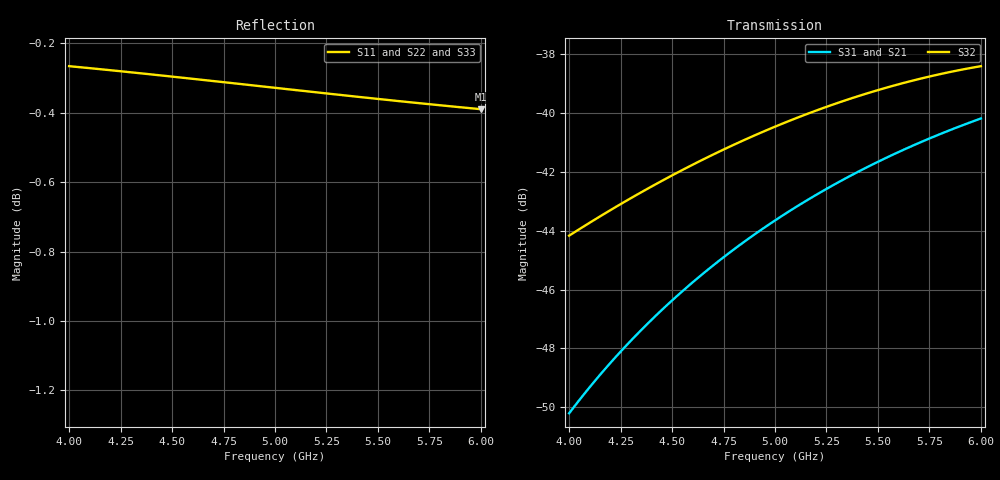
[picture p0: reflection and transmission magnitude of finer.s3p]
! yapnr rf: divider-osh-w, footprint re-simulated (refine 3)
! spec sha256 669d225bab5b9cddc49b53759a4b38011ed0340c321c26ede493b4ce416b5fbc
! 3 ports renormalized to 50 ohm, e^(+jwt) convention
# GHz S RI R 50
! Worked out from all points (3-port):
!   81 points, 4 GHz to 6 GHz, reference 50 ohm
!   strongest paths, dB at 4 GHz, 4.5 GHz, 5 GHz, 5.5 GHz, 6 GHz:
!     S32: -44.2, -42.1, -40.5, -39.2, -38.4
!     S31: -50.2, -46.4, -43.7, -41.7, -40.2
!     S21: -50.2, -46.4, -43.7, -41.7, -40.2
!   lowest |S11| = -0.4 dB at 6 GHz (marker M1), VSWR 44.57, Z = 1.53 - j30.3 ohm
!   |S11| at or under -10 dB: nowhere
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4  0.1223 -0.9621  -0.00254 0.000113  -0.00254 0.000113
   -0.00308 0.000212  -0.0401 -0.9659  -0.00239 -0.00571
   -0.00308 0.000212  -0.00239 -0.00571  -0.0401 -0.9659
4.1  0.0913 -0.9649  -0.00285 0.000263  -0.00285 0.000263
     -0.0034 0.000368  -0.0803 -0.9626  -0.0031 -0.00572
     -0.0034 0.000368  -0.0031 -0.00572  -0.0803 -0.9626
4.225  0.0527 -0.967  -0.00322 0.000493  -0.00322 0.000493
       -0.0038 0.000607  -0.1305 -0.9561  -0.00403 -0.00562
       -0.0038 0.000607  -0.00403 -0.00562  -0.1305 -0.9561
4.45  -0.016 -0.9667  -0.00387 0.00103  -0.00387 0.00103
      -0.00448 0.00116  -0.2201 -0.9376  -0.00572 -0.00509
      -0.00448 0.00116  -0.00572 -0.00509  -0.2201 -0.9376
4.725  -0.0983 -0.9599  -0.00455 0.0019  -0.00455 0.0019
       -0.0052 0.00206  -0.3274 -0.9032  -0.00767 -0.00382
       -0.0052 0.00206  -0.00767 -0.00382  -0.3274 -0.9032
5  -0.1781 -0.9463  -0.00504 0.00297  -0.00504 0.00297
   -0.00574 0.00317  -0.431 -0.8561  -0.00927 -0.00191
   -0.00574 0.00317  -0.00927 -0.00191  -0.431 -0.8561
5.25  -0.2483 -0.9285  -0.00526 0.00408  -0.00526 0.00408
      -0.00601 0.00435  -0.5207 -0.8023  -0.0102 0.00027
      -0.00601 0.00435  -0.0102 0.00027  -0.5207 -0.8023
5.5  -0.316 -0.9058  -0.00524 0.00529  -0.00524 0.00529
     -0.00602 0.00564  -0.605 -0.7384  -0.0106 0.0027
     -0.00602 0.00564  -0.0106 0.0027  -0.605 -0.7384
5.75  -0.3808 -0.8787  -0.00496 0.00653  -0.00496 0.00653
      -0.00573 0.00699  -0.6826 -0.6649  -0.0103 0.00519
      -0.00573 0.00699  -0.0103 0.00519  -0.6826 -0.6649
6  -0.4428 -0.8474  -0.00438 0.00774  -0.00438 0.00774
   -0.00512 0.00832  -0.7525 -0.5821  -0.00933 0.00752
   -0.00512 0.00832  -0.00933 0.00752  -0.7525 -0.5821
